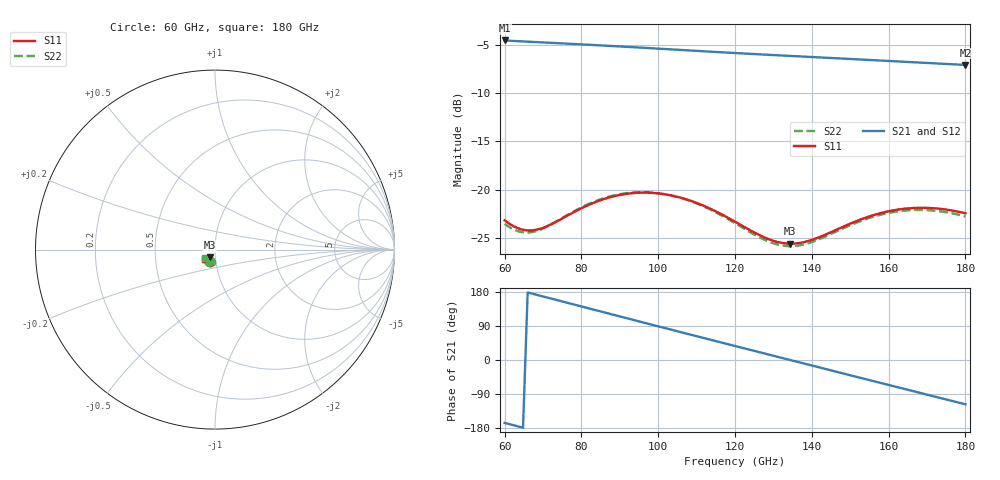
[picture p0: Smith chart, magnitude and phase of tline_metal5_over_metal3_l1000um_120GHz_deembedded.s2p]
! Created with skrf 2.2.0 (http://scikit-rf.org).
# GHz S DB R 50.0
! Port[1] = P1
! Port[2] = P2
!freq dBS11 angS11 dBS21 angS21 dBS12 angS12 dBS22 angS22
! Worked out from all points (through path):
!   101 points, 60 GHz to 180 GHz, reference 50 ohm
!   highest |S21| = -4.58 dB at 60 GHz (marker M1); lowest = -7.1 dB at 180 GHz (marker M2)
!   group delay of S21, straight-line fit = 7.19 ps
!   lowest |S11| = -25.5 dB at 134.4 GHz (marker M3), VSWR 1.11, Z = 46.9 - j4.07 ohm
!   |S11| at or under -10 dB: start of sweep to end of sweep
!   |S22| runs from -25.8 to -20.2 dB; largest |S21 - S12| = 5.8e-14
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60  -23.13 -114.8  -4.58 -166.0  -4.58 -166.0  -23.50 -112.4
63.6  -23.97 -108.5  -4.65 -175.5  -4.65 -175.5  -24.27 -105.3
68.4  -24.10 -99.2  -4.75 171.9  -4.75 171.9  -24.22 -95.5
74.4  -23.08 -92.7  -4.87 156.1  -4.87 156.1  -23.03 -89.6
80.4  -21.81 -93.6  -4.99 140.3  -4.99 140.3  -21.72 -91.2
86.4  -20.87 -99.1  -5.12 124.5  -5.12 124.5  -20.78 -97.3
91.2  -20.43 -105.2  -5.22 111.9  -5.22 111.9  -20.36 -103.8
96  -20.28 -111.9  -5.33 99.3  -5.33 99.3  -20.23 -110.8
100.8  -20.39 -118.7  -5.44 86.8  -5.44 86.8  -20.38 -117.8
105.6  -20.77 -125.1  -5.55 74.3  -5.55 74.3  -20.79 -124.4
110.4  -21.40 -130.7  -5.66 61.8  -5.66 61.8  -21.45 -130.1
120  -23.27 -136.8  -5.87 37.0  -5.87 37.0  -23.43 -136.3
127.2  -24.81 -134.1  -6.03 18.4  -6.03 18.4  -25.05 -133.4
134.4  -25.54 -125.0  -6.17 -0.1  -6.17 -0.1  -25.80 -123.8
140.4  -25.10 -117.5  -6.29 -15.5  -6.29 -15.5  -25.31 -116.0
145.2  -24.32 -114.6  -6.39 -27.9  -6.39 -27.9  -24.50 -113.0
151.2  -23.28 -114.8  -6.51 -43.3  -6.51 -43.3  -23.44 -113.5
156  -22.61 -117.4  -6.61 -55.6  -6.61 -55.6  -22.77 -116.2
160.8  -22.13 -121.2  -6.71 -67.9  -6.71 -67.9  -22.31 -120.2
165.6  -21.88 -125.7  -6.81 -80.2  -6.81 -80.2  -22.08 -124.8
170.4  -21.85 -130.3  -6.91 -92.4  -6.91 -92.4  -22.09 -129.5
180  -22.41 -138.3  -7.10 -116.8  -7.10 -116.8  -22.73 -137.5
